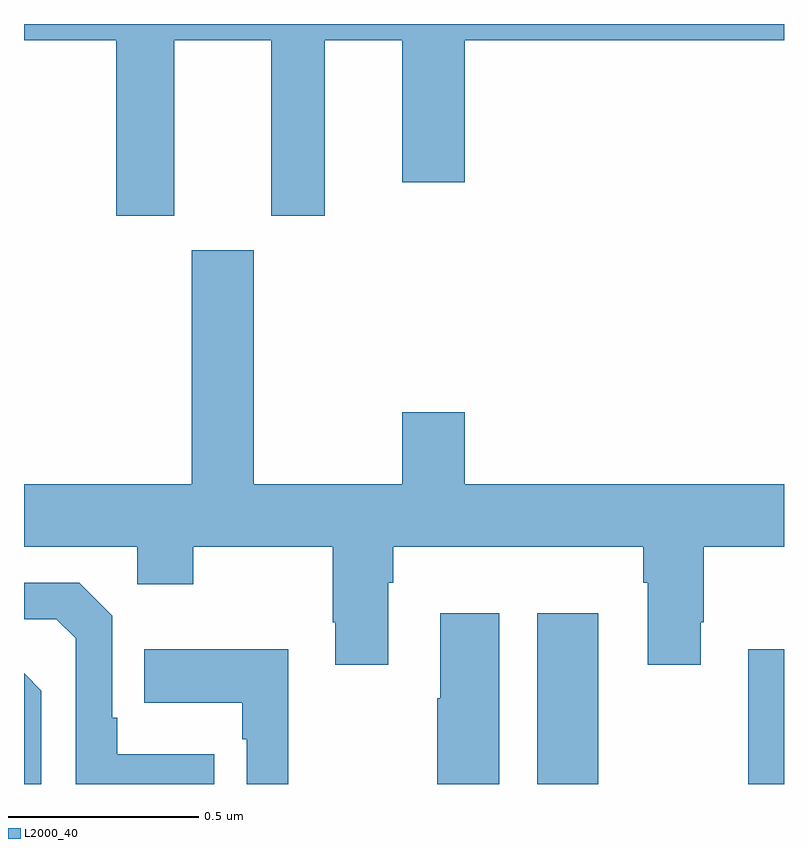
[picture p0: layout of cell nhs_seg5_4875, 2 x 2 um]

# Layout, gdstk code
import gdstk
lib = gdstk.Library(unit=1e-6, precision=1e-09)
def R(c, l, rs):  # rectangles x0, y0, x1, y1
    for r in rs: c.add(gdstk.rectangle(r[:2], r[2:], *l))
def P(c, l, *ps):  # polygons
    for p in ps: c.add(gdstk.Polygon(p, *l))
L2000_40 = (2000, 40)

nhs_seg5_4875 = lib.new_cell('nhs_seg5_4875')
R(nhs_seg5_4875, L2000_40, [(177.35,858.799,177.511,859.249), (177.906,858.799,178,859.153)])
P(nhs_seg5_4875, L2000_40, [(176.395,860.756),(176.651,860.756),(176.651,860.295),(176.791,860.295),(176.791,860.756),(176.996,860.756),(176.996,860.382),(177.16,860.382),(177.16,860.756),(178,860.756),(178,860.799),(176,860.799),(176,860.756),(176.243,860.756),(176.243,860.295),(176.395,860.295)],
  [(176.959,859.328),(176.972,859.328),(176.972,859.424),(177.629,859.424),(177.629,859.328),(177.641,859.328),(177.641,859.113),(177.781,859.113),(177.781,859.225),(177.789,859.225),(177.789,859.424),(178,859.424),(178,859.588),(177.16,859.588),(177.16,859.777),(176.996,859.777),(176.996,859.588),(176.605,859.588),(176.605,860.203),(176.441,860.203),(176.441,859.588),(176,859.588),(176,859.424),(176.298,859.424),(176.298,859.325),(176.445,859.325),(176.445,859.424),(176.812,859.424),(176.812,859.225),(176.819,859.225),(176.819,859.113),(176.959,859.113)],
  [(176.501,858.877),(176.245,858.877),(176.245,858.973),(176.232,858.973),(176.232,859.242),(176.145,859.329),(176,859.329),(176,859.233),(176.085,859.233),(176.136,859.182),(176.136,858.799),(176.501,858.799)],
  [(177.25,859.249),(177.095,859.249),(177.095,859.025),(177.088,859.025),(177.088,858.799),(177.25,858.799)],
  [(176.695,859.153),(176.317,859.153),(176.317,859.013),(176.574,859.013),(176.574,858.917),(176.586,858.917),(176.586,858.799),(176.695,858.799)],
  [(176.046,859.044),(176,859.09),(176,858.799),(176.046,858.799)])

lib.write_gds('nhs_seg5_4875.gds')
